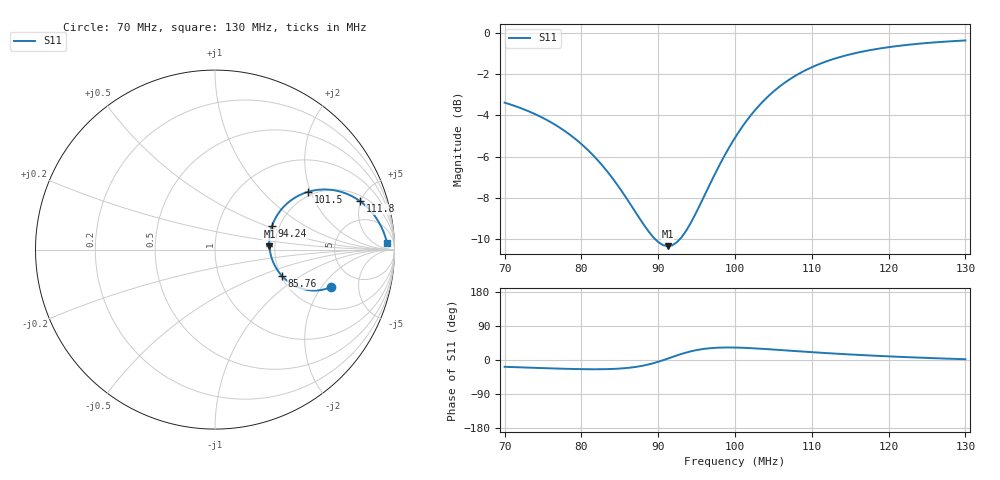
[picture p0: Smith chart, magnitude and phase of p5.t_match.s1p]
# Hz S RI R 50
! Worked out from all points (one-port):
!   100 points, 70 MHz to 130 MHz, reference 50 ohm
!   lowest |S11| = -10.4 dB at 91.21 MHz (marker M1), VSWR 1.87, Z = 93.4 + j3.76 ohm
!   |S11| at or under -10 dB: 89.57 MHz to 92.85 MHz (3.277 MHz wide, 3.59 % of centre)
!   S11 on the Smith chart (normalised r, x): 70 MHz: 3.19, -2.46; 85.76 MHz: 2.02, -0.70; 94.24 MHz: 1.83, +0.56; 101.5 MHz: 1.87, +1.93; 111.8 MHz: 2.51, +4.95; 130 MHz: 28, +24
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7e7  0.6449 -0.2085
7.424242e7  0.5906 -0.2253
7.787879e7  0.5309 -0.2271
8.151515e7  0.4599 -0.2086
8.333333e7  0.4219 -0.1881
8.515152e7  0.3843 -0.158
8.575758e7  0.3724 -0.1456
8.757576e7  0.3398 -0.1012
8.939394e7  0.3153 -0.0459
9.060606e7  0.3055 -0.00391
9.121212e7  0.303 0.0183
9.181818e7  0.3023 0.0411
9.30303e7  0.3065 0.0877
9.424242e7  0.3187 0.1342
9.545455e7  0.3388 0.1787
9.727273e7  0.382 0.238
9.909091e7  0.4374 0.2844
1.00303e8  0.4784 0.3069
1.015152e8  0.5208 0.3226
1.027273e8  0.5632 0.3318
1.045455e8  0.6244 0.3348
1.075758e8  0.7142 0.318
1.093939e8  0.7593 0.2992
1.118182e8  0.8092 0.2686
1.154545e8  0.8653 0.2178
1.190909e8  0.9039 0.1669
1.227273e8  0.9301 0.1189
1.3e8  0.9593 0.0344
